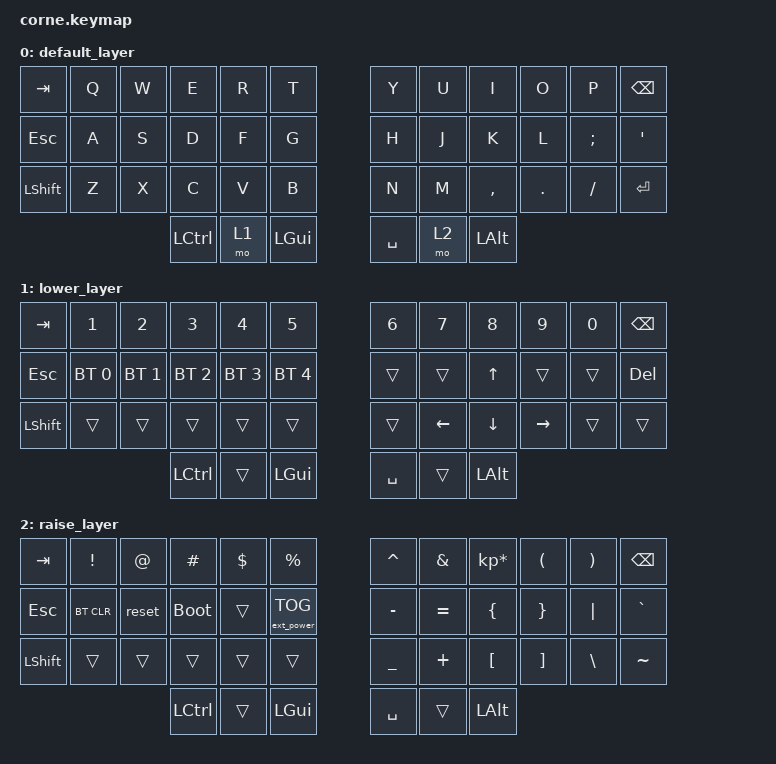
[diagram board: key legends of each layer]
/*
 * Copyright (c) 2020 The ZMK Contributors
 *
 * SPDX-License-Identifier: MIT
 */

#include <behaviors.dtsi>
#include <dt-bindings/zmk/keys.h>
#include <dt-bindings/zmk/bt.h>
#include <dt-bindings/zmk/ext_power.h>

/ {
        keymap {
                compatible = "zmk,keymap";

                default_layer {
// -----------------------------------------------------------------------------------------
// |  TAB |  Q  |  W  |  E  |  R  |  T  |   |  Y  |  U   |  I  |  O  |  P  | BKSP |
// |  ESC |  A  |  S  |  D  |  F  |  G  |   |  H  |  J   |  K  |  L  |  ;  |  '   |
// | SHFT |  Z  |  X  |  C  |  V  |  B  |   |  N  |  M   |  ,  |  .  |  /  | SHFT |
//                    | CTRL| LWR | GUI |   | SPC | RSE  | ALT |
                        bindings = <
   &kp TAB   &kp Q &kp W &kp E &kp R &kp T   &kp Y &kp U  &kp I     &kp O   &kp P    &kp BSPC
   &kp ESC &kp A &kp S &kp D &kp F &kp G   &kp H &kp J  &kp K     &kp L   &kp SEMI &kp SQT
   &kp LSHFT &kp Z &kp X &kp C &kp V &kp B   &kp N &kp M  &kp COMMA &kp DOT &kp FSLH &kp RET
                  &kp LCTRL &mo 1 &kp LGUI   &kp SPACE &mo 2 &kp LALT
                        >;
                };
                lower_layer {
// -----------------------------------------------------------------------------------------
// |  TAB |  1  |  2  |  3  |  4  |  5  |   |  6  |  7  |  8  |  9  |  0  | BKSP |
// | ESC  | BT1 | BT2 | BT3 | BT4 | BT5 |   |     |     |  UP |     |     | DEL  |
// | SHFT |     |     |     |     |     |   |     | LFT | DWN | RGT |     |      |
//                    | GUI |     | SPC |   | ENT |     | ALT |
                        bindings = <
   &kp TAB    &kp N1       &kp N2       &kp N3       &kp N4       &kp N5            &kp N6   &kp N7   &kp N8 &kp N9    &kp N0 &kp BSPC
   &kp ESC &bt BT_SEL 0 &bt BT_SEL 1 &bt BT_SEL 2 &bt BT_SEL 3 &bt BT_SEL 4      &trans &trans &kp UP &trans &trans &kp DEL
   &kp LSHFT  &trans       &trans       &trans       &trans       &trans            &trans   &kp LEFT   &kp DOWN &kp RIGHT    &trans &trans
                                        &kp LCTRL &trans &kp LGUI   &kp SPACE &trans &kp LALT
                        >;
                };

                raise_layer {
// -----------------------------------------------------------------------------------------
// |  TAB |  !  |  @  |  #  |  $  |  %  |   |  ^  |  &  |  *  |  (  |  )  | BKSP |
// | ESC  |BTCLR|RESET|BTLDR|     |PWTOG|   |  -  |  =  |  {  |  }  | "|" |  `   |
// | SHFT |     |     |     |     |     |   |  _  |  +  |  [  |  ]  |  \  |  ~   | // TODO: Fix this row when &mkp is committed
//                    | GUI |     | SPC |   | ENT |     | ALT |
                        bindings = <
   &kp  TAB  &kp EXCL  &kp AT  &kp HASH  &kp DLLR  &kp PRCNT   &kp CARET &kp AMPS  &kp KP_MULTIPLY &kp LPAR &kp RPAR &kp BSPC
   &kp ESC  &bt BT_CLR   &reset  &bootloader    &trans    &ext_power EP_TOG      &kp MINUS &kp EQUAL &kp LBRC       &kp RBRC &kp PIPE &kp GRAVE
   &kp LSHFT &trans    &trans  &trans    &trans    &trans      &kp UNDER    &kp PLUS    &kp LBKT     &kp RBKT   &kp BSLH &kp TILDE
                                  &kp LCTRL &trans &kp LGUI   &kp SPACE &trans &kp LALT
                        >;
                };
        };
};
